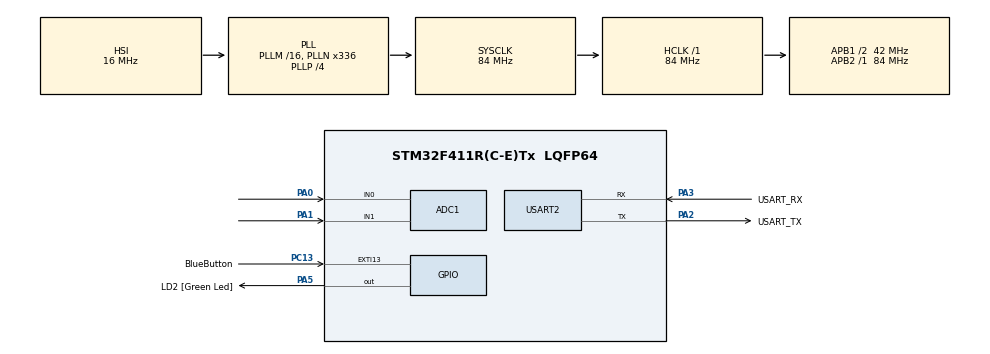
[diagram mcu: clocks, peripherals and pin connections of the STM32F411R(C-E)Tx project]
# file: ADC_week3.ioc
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ADC1.Channel-0\#ChannelRegularConversion=ADC_CHANNEL_0
ADC1.NbrOfConversionFlag=1
ADC1.Rank-0\#ChannelRegularConversion=1
ADC1.SamplingTime-0\#ChannelRegularConversion=ADC_SAMPLETIME_3CYCLES
ADC1.master=1
Mcu.Family=STM32F4
Mcu.Name=STM32F411R(C-E)Tx
Mcu.Package=LQFP64
NVIC.PriorityGroup=NVIC_PRIORITYGROUP_0
PA0-WKUP.Signal=ADCx_IN0
PA1.Signal=ADCx_IN1
PA13.GPIO_Label=TMS
PA13.Mode=Serial_Wire
PA13.Signal=SYS_JTMS-SWDIO
PA14.GPIO_Label=TCK
PA14.Mode=Serial_Wire
PA14.Signal=SYS_JTCK-SWCLK
PA2.GPIO_Label=USART_TX
PA2.Mode=Asynchronous
PA2.Signal=USART2_TX
PA3.GPIO_Label=USART_RX
PA3.Mode=Asynchronous
PA3.Signal=USART2_RX
PA5.GPIO_Label=LD2 [Green Led]
PA5.Signal=GPIO_Output
PB3.GPIO_Label=SWO
PB3.Signal=SYS_JTDO-SWO
PC13-ANTI_TAMP.GPIO_Label=BlueButton
PC13-ANTI_TAMP.GPIO_ModeDefaultEXTI=GPIO_MODE_IT_FALLING
PC13-ANTI_TAMP.Signal=GPXTI13
PC14-OSC32_IN.Mode=LSE-External-Oscillator
PC14-OSC32_IN.Signal=RCC_OSC32_IN
PC15-OSC32_OUT.Mode=LSE-External-Oscillator
PC15-OSC32_OUT.Signal=RCC_OSC32_OUT
PH0\ -\ OSC_IN.Mode=HSE-External-Clock-Source
PH0\ -\ OSC_IN.Signal=RCC_OSC_IN
PH1\ -\ OSC_OUT.Mode=HSE-External-Clock-Source
PH1\ -\ OSC_OUT.Signal=RCC_OSC_OUT
ProjectManager.HeapSize=0x200
ProjectManager.StackSize=0x400
ProjectManager.TargetToolchain=STM32CubeIDE
RCC.48MHZClocksFreq_Value=84000000
RCC.AHBFreq_Value=84000000
RCC.APB1CLKDivider=RCC_HCLK_DIV2
RCC.APB1Freq_Value=42000000
RCC.APB1TimFreq_Value=84000000
RCC.APB2Freq_Value=84000000
RCC.APB2TimFreq_Value=84000000
RCC.CortexFreq_Value=84000000
RCC.FLatency-AdvancedSettings=FLASH_LATENCY_2
RCC.HCLKFreq_Value=84000000
RCC.HSE_VALUE=8000000
RCC.HSI_VALUE=16000000
RCC.PLLN=336
RCC.PLLP=RCC_PLLP_DIV4
RCC.SYSCLKFreq_VALUE=84000000
RCC.SYSCLKSource=RCC_SYSCLKSOURCE_PLLCLK
RCC.VCOOutputFreq_Value=336000000
SH.ADCx_IN0.0=ADC1_IN0,IN0
SH.ADCx_IN1.0=ADC1_IN1,IN1
USART2.VirtualMode=VM_ASYNC
VP_ADC1_TempSens_Input.Mode=IN-TempSens
board=NUCLEO-F411RE

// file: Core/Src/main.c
/* USER CODE BEGIN Header */
/**
  ******************************************************************************
  * @file           : main.c
  * @brief          : Main program body
  ******************************************************************************
  * @attention
  *
  * Copyright (c) 2022 STMicroelectronics.
  * All rights reserved.
  *
  * This software is licensed under terms that can be found in the LICENSE file
  * in the root directory of this software component.
  * If no LICENSE file comes with this software, it is provided AS-IS.
  *
  ******************************************************************************
  */
/* USER CODE END Header */
#include "main.h"

ADC_HandleTypeDef hadc1;

UART_HandleTypeDef huart2;

/* USER CODE BEGIN PV */
typedef struct{
	ADC_ChannelConfTypeDef Config;
	uint16_t data;
}ADCStructure;

ADCStructure ADCChannel[2];

uint8_t ADCMode = 0;
uint16_t ADCOutputConverted = 0;

/* USER CODE END PV */

void SystemClock_Config(void);
static void MX_GPIO_Init(void);
static void MX_USART2_UART_Init(void);
static void MX_ADC1_Init(void);
/* USER CODE BEGIN PFP */

void ADCConfigInit();
void ADCPollingMethodUpdate();
uint8_t PressTheButton();

/* USER CODE END PFP */

int main(void)
{

  /* MCU Configuration--------------------------------------------------------*/

  /* Reset of all peripherals, Initializes the Flash interface and the Systick. */
  HAL_Init();

  /* Configure the system clock */
  SystemClock_Config();

  /* Initialize all configured peripherals */
  MX_GPIO_Init();
  MX_USART2_UART_Init();
  MX_ADC1_Init();
  /* USER CODE BEGIN 2 */

  ADCConfigInit();

  /* USER CODE END 2 */

  /* Infinite loop */
  /* USER CODE BEGIN WHILE */
  while (1)
  {
	  if(PressTheButton() == 1){
		  ADCMode = (ADCMode + 1)%2;
	  }

	  ADCPollingMethodUpdate();

	  if(ADCMode == 0){
		  ADCOutputConverted = (ADCChannel[ADCMode].data * 3300) / 4095;
	  }
	  else if(ADCMode == 1){
		  ADCOutputConverted = ((((ADCChannel[ADCMode].data * 3300) / 4095) - 760) / 2.5) + 25;
	  }
	  else{
		  //must be error
	  }

    /* USER CODE END WHILE */

  }
}

void SystemClock_Config(void)
{
  RCC_OscInitTypeDef RCC_OscInitStruct = {0};
  RCC_ClkInitTypeDef RCC_ClkInitStruct = {0};

  /** Configure the main internal regulator output voltage
  */
  __HAL_RCC_PWR_CLK_ENABLE();
  __HAL_PWR_VOLTAGESCALING_CONFIG(PWR_REGULATOR_VOLTAGE_SCALE1);
  /** Initializes the RCC Oscillators according to the specified parameters
  * in the RCC_OscInitTypeDef structure.
  */
  RCC_OscInitStruct.OscillatorType = RCC_OSCILLATORTYPE_HSI;
  RCC_OscInitStruct.HSIState = RCC_HSI_ON;
  RCC_OscInitStruct.HSICalibrationValue = RCC_HSICALIBRATION_DEFAULT;
  RCC_OscInitStruct.PLL.PLLState = RCC_PLL_ON;
  RCC_OscInitStruct.PLL.PLLSource = RCC_PLLSOURCE_HSI;
  RCC_OscInitStruct.PLL.PLLM = 16;
  RCC_OscInitStruct.PLL.PLLN = 336;
  RCC_OscInitStruct.PLL.PLLP = RCC_PLLP_DIV4;
  RCC_OscInitStruct.PLL.PLLQ = 4;
  if (HAL_RCC_OscConfig(&RCC_OscInitStruct) != HAL_OK)
  {
    Error_Handler();
  }
  /** Initializes the CPU, AHB and APB buses clocks
  */
  RCC_ClkInitStruct.ClockType = RCC_CLOCKTYPE_HCLK|RCC_CLOCKTYPE_SYSCLK
                              |RCC_CLOCKTYPE_PCLK1|RCC_CLOCKTYPE_PCLK2;
  RCC_ClkInitStruct.SYSCLKSource = RCC_SYSCLKSOURCE_PLLCLK;
  RCC_ClkInitStruct.AHBCLKDivider = RCC_SYSCLK_DIV1;
  RCC_ClkInitStruct.APB1CLKDivider = RCC_HCLK_DIV2;
  RCC_ClkInitStruct.APB2CLKDivider = RCC_HCLK_DIV1;

  if (HAL_RCC_ClockConfig(&RCC_ClkInitStruct, FLASH_LATENCY_2) != HAL_OK)
  {
    Error_Handler();
  }
}

static void MX_ADC1_Init(void)
{

  ADC_ChannelConfTypeDef sConfig = {0};

  /** Configure the global features of the ADC (Clock, Resolution, Data Alignment and number of conversion)
  */
  hadc1.Instance = ADC1;
  hadc1.Init.ClockPrescaler = ADC_CLOCK_SYNC_PCLK_DIV4;
  hadc1.Init.Resolution = ADC_RESOLUTION_12B;
  hadc1.Init.ScanConvMode = DISABLE;
  hadc1.Init.ContinuousConvMode = DISABLE;
  hadc1.Init.DiscontinuousConvMode = DISABLE;
  hadc1.Init.ExternalTrigConvEdge = ADC_EXTERNALTRIGCONVEDGE_NONE;
  hadc1.Init.ExternalTrigConv = ADC_SOFTWARE_START;
  hadc1.Init.DataAlign = ADC_DATAALIGN_RIGHT;
  hadc1.Init.NbrOfConversion = 1;
  hadc1.Init.DMAContinuousRequests = DISABLE;
  hadc1.Init.EOCSelection = ADC_EOC_SINGLE_CONV;
  if (HAL_ADC_Init(&hadc1) != HAL_OK)
  {
    Error_Handler();
  }
  /** Configure for the selected ADC regular channel its corresponding rank in the sequencer and its sample time.
  */
  sConfig.Channel = ADC_CHANNEL_0;
  sConfig.Rank = 1;
  sConfig.SamplingTime = ADC_SAMPLETIME_3CYCLES;
  if (HAL_ADC_ConfigChannel(&hadc1, &sConfig) != HAL_OK)
  {
    Error_Handler();
  }

}

static void MX_USART2_UART_Init(void)
{

  huart2.Instance = USART2;
  huart2.Init.BaudRate = 115200;
  huart2.Init.WordLength = UART_WORDLENGTH_8B;
  huart2.Init.StopBits = UART_STOPBITS_1;
  huart2.Init.Parity = UART_PARITY_NONE;
  huart2.Init.Mode = UART_MODE_TX_RX;
  huart2.Init.HwFlowCtl = UART_HWCONTROL_NONE;
  huart2.Init.OverSampling = UART_OVERSAMPLING_16;
  if (HAL_UART_Init(&huart2) != HAL_OK)
  {
    Error_Handler();
  }

}

static void MX_GPIO_Init(void)
{
  GPIO_InitTypeDef GPIO_InitStruct = {0};

  /* GPIO Ports Clock Enable */
  __HAL_RCC_GPIOC_CLK_ENABLE();
  __HAL_RCC_GPIOH_CLK_ENABLE();
  __HAL_RCC_GPIOA_CLK_ENABLE();
  __HAL_RCC_GPIOB_CLK_ENABLE();

  /*Configure GPIO pin Output Level */
  HAL_GPIO_WritePin(LD2_GPIO_Port, LD2_Pin, GPIO_PIN_RESET);

  /*Configure GPIO pin : BlueButton_Pin */
  GPIO_InitStruct.Pin = BlueButton_Pin;
  GPIO_InitStruct.Mode = GPIO_MODE_IT_FALLING;
  GPIO_InitStruct.Pull = GPIO_NOPULL;
  HAL_GPIO_Init(BlueButton_GPIO_Port, &GPIO_InitStruct);

  /*Configure GPIO pin : LD2_Pin */
  GPIO_InitStruct.Pin = LD2_Pin;
  GPIO_InitStruct.Mode = GPIO_MODE_OUTPUT_PP;
  GPIO_InitStruct.Pull = GPIO_NOPULL;
  GPIO_InitStruct.Speed = GPIO_SPEED_FREQ_LOW;
  HAL_GPIO_Init(LD2_GPIO_Port, &GPIO_InitStruct);

}

/* USER CODE BEGIN 4 */
void ADCConfigInit(){
	//config ADC channel PA0
	ADCChannel[0].Config.Channel = ADC_CHANNEL_0;
	ADCChannel[0].Config.Rank = 1;
	ADCChannel[0].Config.SamplingTime = ADC_SAMPLETIME_3CYCLES;
	//config ADC channel Tempsensor
	ADCChannel[1].Config.Channel = ADC_CHANNEL_TEMPSENSOR;
	ADCChannel[1].Config.Rank = 1;
	ADCChannel[1].Config.SamplingTime = ADC_SAMPLETIME_3CYCLES;
}

void ADCPollingMethodUpdate(){
	for(int i = 0 ; i< 2 ; i++){
		//set ADC CHANNEL
		HAL_ADC_ConfigChannel(&hadc1, &ADCChannel[i].Config);

		//start sampling
		HAL_ADC_Start(&hadc1);

		//wait for sampling and conversion
		if(HAL_ADC_PollForConversion(&hadc1, 10) == HAL_OK){
			//Read data
			ADCChannel[i].data = HAL_ADC_GetValue(&hadc1);
		}
		//stop ADC
		HAL_ADC_Stop(&hadc1);
	}
}

uint8_t PressTheButton(){
	static uint8_t status = 0;
	static uint8_t buttonState[2] = {0};
	buttonState[0] = HAL_GPIO_ReadPin(BlueButton_GPIO_Port, BlueButton_Pin);
	if(buttonState[0] == GPIO_PIN_RESET && buttonState[1] == GPIO_PIN_SET){
		status = 1;
	}
	else{
		status = 0;
	}
	buttonState[1] = buttonState[0];
	return status;

}

/* USER CODE END 4 */

void Error_Handler(void)
{
  __disable_irq();
  while (1)
  {
  }
}
